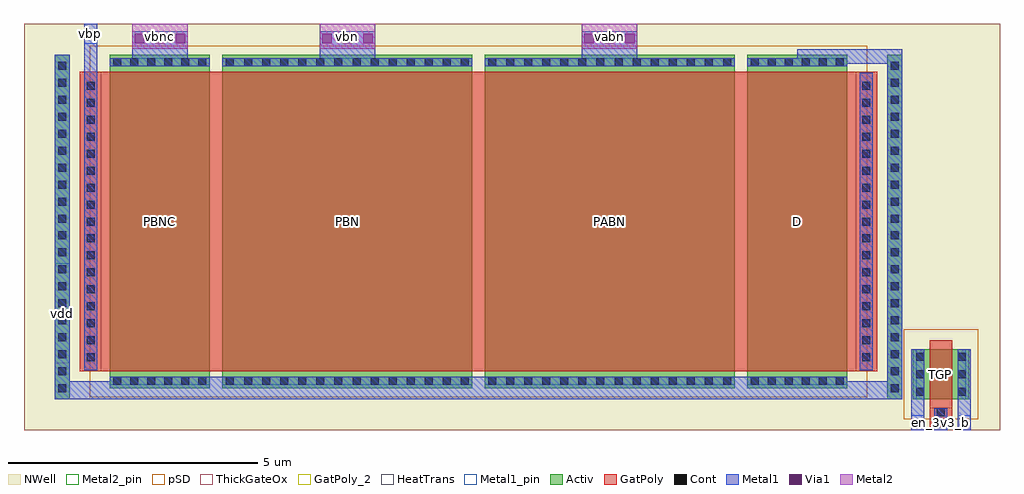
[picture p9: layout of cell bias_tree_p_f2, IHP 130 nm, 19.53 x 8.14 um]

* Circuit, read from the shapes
.subckt bias_tree_p_f2 en_3v3_b iref ni vabn vbn vbnc vbp vdd
XM1 vbnc vbp vdd vdd sg13_hv_pmos w=2u l=6u
XM2 vbn vbp vdd vdd sg13_hv_pmos w=5u l=6u
XM3 vabn vbp vdd vdd sg13_hv_pmos w=5u l=6u
XM4 vdd vbp vdd vdd sg13_hv_pmos w=2u l=6u
XM5 ni en_3v3_b iref vdd sg13_hv_pmos w=1u l=0.45u
.ends

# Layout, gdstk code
from math import pi, radians
import gdstk
lib = gdstk.Library(unit=1e-6, precision=1e-09)
def R(c, l, rs):  # rectangles x0, y0, x1, y1
    for r in rs: c.add(gdstk.rectangle(r[:2], r[2:], *l))
def A(c, l, x, y, w, h, nx, ny, dx, dy):  # array of equal rectangles
    R(c, l, [(x+i*dx, y+j*dy, x+i*dx+w, y+j*dy+h) for i in range(nx) for j in range(ny)])
Activ = (1, 0)
GatPoly = (5, 0)
GatPoly_2 = (5, 2)
Cont = (6, 0)
Metal1 = (8, 0)
Metal1_pin = (8, 2)
Metal2 = (10, 0)
Metal2_pin = (10, 2)
pSD = (14, 0)
Via1 = (19, 0)
NWell = (31, 0)
ThickGateOx = (44, 0)
HeatTrans = (51, 0)

pmoshv_w1_l0p45_1 = lib.new_cell('pmosHV_w1_l0p45$1')
R(pmoshv_w1_l0p45_1, Activ, [(0,0,0.3,0.3), (0,0,1.13,1), (0.83,0,1.13,0.3)])
R(pmoshv_w1_l0p45_1, GatPoly, [(0.34,-0.18,0.79,1.18)])
R(pmoshv_w1_l0p45_1, GatPoly_2, [(0.34,-0.18,0.79,1.18)])
A(pmoshv_w1_l0p45_1, Cont, 0.07, 0.07, 0.16, 0.16, 1, 3, 0, 0.35)
A(pmoshv_w1_l0p45_1, Cont, 0.9, 0.07, 0.16, 0.16, 1, 3, 0, 0.35)
R(pmoshv_w1_l0p45_1, Metal1, [(0.07,0,0.23,1), (0.9,0,1.06,1)])
R(pmoshv_w1_l0p45_1, Metal1_pin, [(0.07,0,0.23,1), (0.9,0,1.06,1)])
R(pmoshv_w1_l0p45_1, pSD, [(-0.18,-0.4,1.31,1.4)])
R(pmoshv_w1_l0p45_1, NWell, [(-0.62,-0.62,1.75,1.62)])
R(pmoshv_w1_l0p45_1, ThickGateOx, [(-0.62,-0.62,1.75,1.62)])
R(pmoshv_w1_l0p45_1, HeatTrans, [(0.34,-0.18,0.79,1.18)])
pmoshv_w1_l0p45_1.add(gdstk.Label('pmosHV', (0.565,0.5), layer=63, texttype=0))
pmoshv_w1_l0p45_1.add(gdstk.Label('pmos', (0.565,0.5), layer=51, texttype=0))

pmoshv_w5_l6_1 = lib.new_cell('pmosHV_w5_l6$1')
R(pmoshv_w5_l6_1, Activ, [(0,0,0.3,0.3), (0,0,6.68,5), (6.38,0,6.68,0.3)])
R(pmoshv_w5_l6_1, GatPoly, [(0.34,-0.18,6.34,5.18)])
R(pmoshv_w5_l6_1, GatPoly_2, [(0.34,-0.18,6.34,5.18)])
A(pmoshv_w5_l6_1, Cont, 0.07, 0.07, 0.16, 0.16, 1, 4, 0, 0.36)
A(pmoshv_w5_l6_1, Cont, 6.45, 0.07, 0.16, 0.16, 1, 4, 0, 0.36)
A(pmoshv_w5_l6_1, Cont, 0.07, 1.515, 0.16, 0.16, 1, 3, 0, 0.36)
A(pmoshv_w5_l6_1, Cont, 6.45, 1.515, 0.16, 0.16, 1, 3, 0, 0.36)
A(pmoshv_w5_l6_1, Cont, 0.07, 2.6, 0.16, 0.16, 1, 3, 0, 0.36)
A(pmoshv_w5_l6_1, Cont, 6.45, 2.6, 0.16, 0.16, 1, 3, 0, 0.36)
A(pmoshv_w5_l6_1, Cont, 0.07, 3.685, 0.16, 0.16, 1, 3, 0, 0.36)
A(pmoshv_w5_l6_1, Cont, 6.45, 3.685, 0.16, 0.16, 1, 3, 0, 0.36)
R(pmoshv_w5_l6_1, Cont, [(0.07,4.77,0.23,4.93), (6.45,4.77,6.61,4.93)])
R(pmoshv_w5_l6_1, Metal1, [(0.07,0,0.23,5), (6.45,0,6.61,5)])
R(pmoshv_w5_l6_1, Metal1_pin, [(0.07,0,0.23,5), (6.45,0,6.61,5)])
R(pmoshv_w5_l6_1, pSD, [(-0.18,-0.4,6.86,5.4)])
R(pmoshv_w5_l6_1, NWell, [(-0.62,-0.62,7.3,5.62)])
R(pmoshv_w5_l6_1, ThickGateOx, [(-0.62,-0.62,7.3,5.62)])
R(pmoshv_w5_l6_1, HeatTrans, [(0.34,-0.18,6.34,5.18)])
pmoshv_w5_l6_1.add(gdstk.Label('pmosHV', (3.34,2.5), layer=63, texttype=0))
pmoshv_w5_l6_1.add(gdstk.Label('pmos', (3.34,2.5), layer=51, texttype=0))

pmoshv_w2_l6 = lib.new_cell('pmosHV_w2_l6')
R(pmoshv_w2_l6, Activ, [(0,0,0.3,0.3), (0,0,6.68,2), (6.38,0,6.68,0.3)])
R(pmoshv_w2_l6, GatPoly, [(0.34,-0.18,6.34,2.18)])
R(pmoshv_w2_l6, GatPoly_2, [(0.34,-0.18,6.34,2.18)])
A(pmoshv_w2_l6, Cont, 0.07, 0.07, 0.16, 0.16, 1, 6, 0, 0.34)
A(pmoshv_w2_l6, Cont, 6.45, 0.07, 0.16, 0.16, 1, 6, 0, 0.34)
R(pmoshv_w2_l6, Metal1, [(0.07,0,0.23,2), (6.45,0,6.61,2)])
R(pmoshv_w2_l6, Metal1_pin, [(0.07,0,0.23,2), (6.45,0,6.61,2)])
R(pmoshv_w2_l6, pSD, [(-0.18,-0.4,6.86,2.4)])
R(pmoshv_w2_l6, NWell, [(-0.62,-0.62,7.3,2.62)])
R(pmoshv_w2_l6, ThickGateOx, [(-0.62,-0.62,7.3,2.62)])
R(pmoshv_w2_l6, HeatTrans, [(0.34,-0.18,6.34,2.18)])
pmoshv_w2_l6.add(gdstk.Label('pmosHV', (3.34,1), layer=63, texttype=0))
pmoshv_w2_l6.add(gdstk.Label('pmos', (3.34,1), layer=51, texttype=0))

bias_tree_p_f2 = lib.new_cell('bias_tree_p_f2')
R(bias_tree_p_f2, Activ, [(0.62,0.62,0.92,7.52), (17.27,0.62,17.57,7.52)])
R(bias_tree_p_f2, GatPoly, [(18.12,0.06,18.57,0.62), (1.12,1.18,1.72,7.18), (16.47,1.18,17.07,7.18)])
A(bias_tree_p_f2, Cont, 0.69, 0.76, 0.16, 0.16, 1, 20, 0, 0.34)
A(bias_tree_p_f2, Cont, 17.34, 0.76, 0.16, 0.16, 1, 20, 0, 0.34)
A(bias_tree_p_f2, Cont, 1.26, 1.38, 0.16, 0.16, 1, 17, 0, 0.34)
A(bias_tree_p_f2, Cont, 16.77, 1.38, 0.16, 0.16, 1, 17, 0, 0.34)
R(bias_tree_p_f2, Cont, [(18.265,0.28,18.425,0.44)])
R(bias_tree_p_f2, Metal1, [(17.75,0,18.01,1.62), (18.215,0,18.475,0.44), (18.68,0,18.94,1.62), (0.62,0.62,17.57,0.98), (0.62,0.62,0.92,7.52), (1.72,0.62,16.47,1.07), (17.27,0.62,17.57,7.52), (1.21,1.2,1.47,7.16), (16.72,1.2,16.98,7.16), (1.21,7.16,1.47,8.14), (2.165,7.29,3.275,7.985), (5.915,7.29,7.025,7.985), (11.165,7.29,12.275,7.985), (15.47,7.34,17.57,7.63)])
A(bias_tree_p_f2, Metal1_pin, 17.75, 0, 0.26, 0.3, 3, 1, 0.465, 0)
R(bias_tree_p_f2, Metal1_pin, [(0.62,1.34,0.92,3.34), (1.21,7.74,1.47,8.14)])
R(bias_tree_p_f2, Metal2, [(2.165,7.64,3.275,8.14), (5.915,7.64,7.025,8.14), (11.165,7.64,12.275,8.14)])
R(bias_tree_p_f2, Metal2_pin, [(2.165,7.64,3.275,8.14), (5.915,7.64,7.025,8.14), (11.165,7.64,12.275,8.14)])
A(bias_tree_p_f2, Via1, 2.215, 7.745, 0.19, 0.19, 3, 1, 0.41, 0)
A(bias_tree_p_f2, Via1, 5.965, 7.745, 0.19, 0.19, 3, 1, 0.41, 0)
A(bias_tree_p_f2, Via1, 11.215, 7.745, 0.19, 0.19, 3, 1, 0.41, 0)
R(bias_tree_p_f2, NWell, [(0,0,19.53,8.14)])
R(bias_tree_p_f2, ThickGateOx, [(0,0,19.53,8.14)])
bias_tree_p_f2.add(gdstk.Reference(pmoshv_w1_l0p45_1, (17.78,1.62), x_reflection=True))
bias_tree_p_f2.add(gdstk.Reference(pmoshv_w5_l6_1, (8.97,0.84), rotation=pi/2))
bias_tree_p_f2.add(gdstk.Reference(pmoshv_w5_l6_1, (9.22,0.84), rotation=pi/2, x_reflection=True))
bias_tree_p_f2.add(gdstk.Reference(pmoshv_w2_l6, (3.72,0.84), rotation=pi/2))
bias_tree_p_f2.add(gdstk.Reference(pmoshv_w2_l6, (14.47,0.84), rotation=pi/2, x_reflection=True))
bias_tree_p_f2.add(gdstk.Label('vbp', (1.34,7.94), layer=8, texttype=25))
bias_tree_p_f2.add(gdstk.Label('vdd', (0.77,2.34), layer=8, texttype=25))
bias_tree_p_f2.add(gdstk.Label('en_3v3_b', (18.345,0.15), layer=8, texttype=25))
bias_tree_p_f2.add(gdstk.Label('iref', (17.88,0.15), layer=8, texttype=25))
bias_tree_p_f2.add(gdstk.Label('ni', (18.81,0.15), layer=8, texttype=25))
bias_tree_p_f2.add(gdstk.Label('vbnc', (2.72,7.89), layer=10, texttype=25))
bias_tree_p_f2.add(gdstk.Label('vbn', (6.47,7.89), layer=10, texttype=25))
bias_tree_p_f2.add(gdstk.Label('vabn', (11.72,7.89), layer=10, texttype=25))
bias_tree_p_f2.add(gdstk.Label('PBNC', (2.72,4.18), layer=63, texttype=0))
bias_tree_p_f2.add(gdstk.Label('PBN', (6.47,4.18), layer=63, texttype=0))
bias_tree_p_f2.add(gdstk.Label('PABN', (11.72,4.18), layer=63, texttype=0))
bias_tree_p_f2.add(gdstk.Label('D', (15.47,4.18), layer=63, texttype=0))
bias_tree_p_f2.add(gdstk.Label('TGP', (18.345,1.12), layer=63, texttype=0))

lib.write_gds('bias_tree_p_f2.gds')
